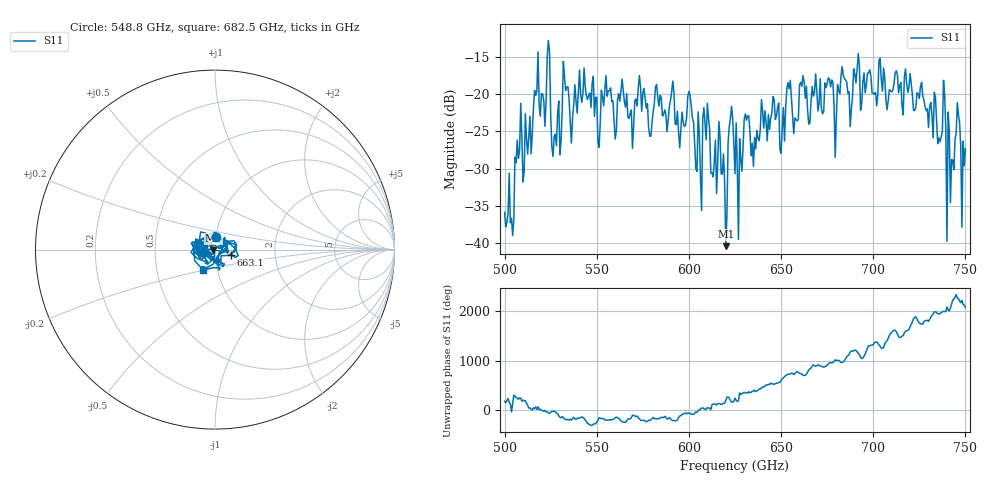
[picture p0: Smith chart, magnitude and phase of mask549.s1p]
!Created with skrf (http://scikit-rf.org).
# GHz S MA R 50.0
!freq magS11 angS11
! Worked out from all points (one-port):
!   401 points, 500 GHz to 750 GHz, reference 50 ohm
!   lowest |S11| = -40.5 dB at 620 GHz (marker M1), VSWR 1.02, Z = 49.1 - j0.289 ohm
!   |S11| at or under -10 dB: start of sweep to end of sweep
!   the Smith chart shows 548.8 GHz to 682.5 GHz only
!   S11 on the Smith chart (normalised r, x): 548.8 GHz: 1.00, +0.14; 663.1 GHz: 1.19, -0.07; 682.5 GHz: 0.85, -0.20
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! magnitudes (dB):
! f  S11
! 500 GHz  -35.9
! 516.9 GHz  -20.1
! 523.8 GHz  -12.7
! 526.9 GHz  -25.7
! 531.2 GHz  -22.0
! 548.8 GHz  -23.0
! 562.5 GHz  -20.9
! 590.6 GHz  -19.7
! 593.8 GHz  -22.3
! 600.6 GHz  -20.2
! 605.6 GHz  -25.3
! 609.4 GHz  -26.2
! 620 GHz  -40.5
! 622.5 GHz  -23.3
! 625 GHz  -30.7
! 627.5 GHz  -26.0
! 631.2 GHz  -23.5
! 635 GHz  -29.7
! 656.2 GHz  -22.8
! 663.1 GHz  -20.5
! 682.5 GHz  -17.6
! 687.5 GHz  -24.4
! 691.2 GHz  -16.7
! 718.8 GHz  -19.8
! 738.1 GHz  -18.1
! 741.2 GHz  -24.9
! 745.6 GHz  -21.1
! 750 GHz  -27.3
